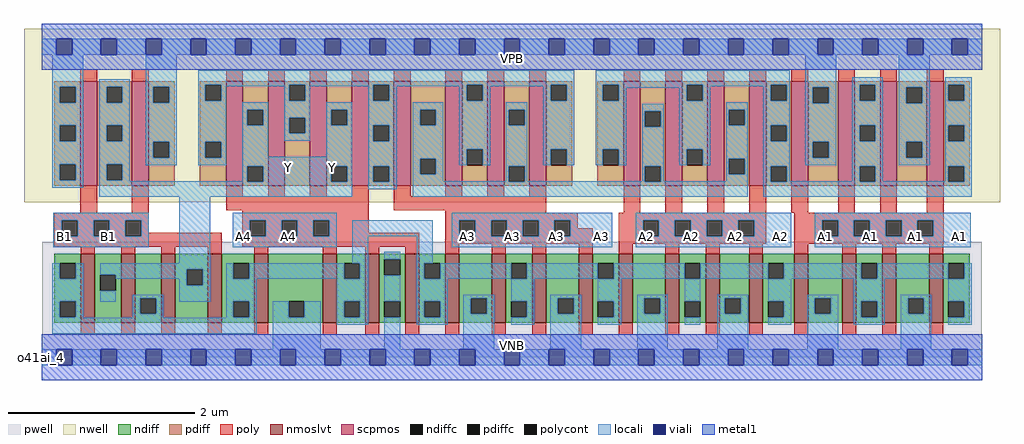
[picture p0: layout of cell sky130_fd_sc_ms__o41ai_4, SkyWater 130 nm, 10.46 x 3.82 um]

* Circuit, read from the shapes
.subckt sky130_fd_sc_ms__o41ai_4 A1 A2 A3 A4 B1 VGND VNB VPB VPWR Y
XM1 Y B1 n1 VNB sky130_fd_pr__nfet_01v8_lvt w=0.74 l=0.15 m=4
XM2 VGND A4 n1 VNB sky130_fd_pr__nfet_01v8_lvt w=0.74 l=0.15 m=4
XM3 VGND A3 n1 VNB sky130_fd_pr__nfet_01v8_lvt w=0.74 l=0.15 m=4
XM4 VGND A2 n1 VNB sky130_fd_pr__nfet_01v8_lvt w=0.74 l=0.15 m=4
XM5 VGND A1 n1 VNB sky130_fd_pr__nfet_01v8_lvt w=0.74 l=0.15 m=4
XM6 Y B1 VPWR VPB sky130_fd_pr__pfet_01v8 w=1.12 l=0.18 m=2
XM7 Y A4 n2 VPB sky130_fd_pr__pfet_01v8 w=1.12 l=0.18 m=4
XM8 n3 A3 n2 VPB sky130_fd_pr__pfet_01v8 w=1.12 l=0.18 m=4
XM9 n3 A2 n4 VPB sky130_fd_pr__pfet_01v8 w=1.12 l=0.18 m=4
XM10 VPWR A1 n4 VPB sky130_fd_pr__pfet_01v8 w=1.12 l=0.18 m=4
.ends

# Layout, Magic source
magic
tech sky130A
magscale 1 2
<< nwell >>
rect -38 332 2054 704
<< pwell >>
rect 1 49 2015 248
rect 0 0 2016 49
<< scpmos >>
rect 83 368 119 592
rect 193 368 229 592
rect 395 368 431 592
rect 485 368 521 592
rect 575 368 611 592
rect 665 368 701 592
rect 755 368 791 592
rect 865 368 901 592
rect 955 368 991 592
rect 1045 368 1081 592
rect 1247 368 1283 592
rect 1337 368 1373 592
rect 1427 368 1463 592
rect 1517 368 1553 592
rect 1607 368 1643 592
rect 1707 368 1743 592
rect 1797 368 1833 592
rect 1897 368 1933 592
<< nmoslvt >>
rect 84 74 114 222
rect 170 74 200 222
rect 256 74 286 222
rect 356 74 386 222
rect 456 74 486 222
rect 602 74 632 222
rect 693 74 723 222
rect 779 74 809 222
rect 865 74 895 222
rect 965 74 995 222
rect 1051 74 1081 222
rect 1151 74 1181 222
rect 1237 74 1267 222
rect 1337 74 1367 222
rect 1423 74 1453 222
rect 1516 74 1546 222
rect 1613 74 1643 222
rect 1716 74 1746 222
rect 1802 74 1832 222
rect 1902 74 1932 222
<< ndiff >>
rect 27 202 84 222
rect 27 168 39 202
rect 73 168 84 202
rect 27 120 84 168
rect 27 86 39 120
rect 73 86 84 120
rect 27 74 84 86
rect 114 177 170 222
rect 114 143 125 177
rect 159 143 170 177
rect 114 74 170 143
rect 200 127 256 222
rect 200 93 211 127
rect 245 93 256 127
rect 200 74 256 93
rect 286 189 356 222
rect 286 155 311 189
rect 345 155 356 189
rect 286 74 356 155
rect 386 202 456 222
rect 386 168 411 202
rect 445 168 456 202
rect 386 120 456 168
rect 386 86 411 120
rect 445 86 456 120
rect 386 74 456 86
rect 486 120 602 222
rect 486 86 529 120
rect 563 86 602 120
rect 486 74 602 86
rect 632 202 693 222
rect 632 168 648 202
rect 682 168 693 202
rect 632 120 693 168
rect 632 86 648 120
rect 682 86 693 120
rect 632 74 693 86
rect 723 210 779 222
rect 723 176 734 210
rect 768 176 779 210
rect 723 120 779 176
rect 723 86 734 120
rect 768 86 779 120
rect 723 74 779 86
rect 809 202 865 222
rect 809 168 820 202
rect 854 168 865 202
rect 809 120 865 168
rect 809 86 820 120
rect 854 86 865 120
rect 809 74 865 86
rect 895 127 965 222
rect 895 93 920 127
rect 954 93 965 127
rect 895 74 965 93
rect 995 202 1051 222
rect 995 168 1006 202
rect 1040 168 1051 202
rect 995 120 1051 168
rect 995 86 1006 120
rect 1040 86 1051 120
rect 995 74 1051 86
rect 1081 127 1151 222
rect 1081 93 1106 127
rect 1140 93 1151 127
rect 1081 74 1151 93
rect 1181 202 1237 222
rect 1181 168 1192 202
rect 1226 168 1237 202
rect 1181 120 1237 168
rect 1181 86 1192 120
rect 1226 86 1237 120
rect 1181 74 1237 86
rect 1267 127 1337 222
rect 1267 93 1292 127
rect 1326 93 1337 127
rect 1267 74 1337 93
rect 1367 202 1423 222
rect 1367 168 1378 202
rect 1412 168 1423 202
rect 1367 120 1423 168
rect 1367 86 1378 120
rect 1412 86 1423 120
rect 1367 74 1423 86
rect 1453 127 1516 222
rect 1453 93 1464 127
rect 1498 93 1516 127
rect 1453 74 1516 93
rect 1546 202 1613 222
rect 1546 168 1557 202
rect 1591 168 1613 202
rect 1546 120 1613 168
rect 1546 86 1557 120
rect 1591 86 1613 120
rect 1546 74 1613 86
rect 1643 127 1716 222
rect 1643 93 1657 127
rect 1691 93 1716 127
rect 1643 74 1716 93
rect 1746 202 1802 222
rect 1746 168 1757 202
rect 1791 168 1802 202
rect 1746 120 1802 168
rect 1746 86 1757 120
rect 1791 86 1802 120
rect 1746 74 1802 86
rect 1832 127 1902 222
rect 1832 93 1857 127
rect 1891 93 1902 127
rect 1832 74 1902 93
rect 1932 202 1989 222
rect 1932 168 1943 202
rect 1977 168 1989 202
rect 1932 120 1989 168
rect 1932 86 1943 120
rect 1977 86 1989 120
rect 1932 74 1989 86
<< pdiff >>
rect 27 580 83 592
rect 27 546 39 580
rect 73 546 83 580
rect 27 497 83 546
rect 27 463 39 497
rect 73 463 83 497
rect 27 414 83 463
rect 27 380 39 414
rect 73 380 83 414
rect 27 368 83 380
rect 119 580 193 592
rect 119 546 139 580
rect 173 546 193 580
rect 119 497 193 546
rect 119 463 139 497
rect 173 463 193 497
rect 119 414 193 463
rect 119 380 139 414
rect 173 380 193 414
rect 119 368 193 380
rect 229 580 285 592
rect 229 546 239 580
rect 273 546 285 580
rect 229 462 285 546
rect 229 428 239 462
rect 273 428 285 462
rect 229 368 285 428
rect 339 584 395 592
rect 339 550 351 584
rect 385 550 395 584
rect 339 462 395 550
rect 339 428 351 462
rect 385 428 395 462
rect 339 368 395 428
rect 431 531 485 592
rect 431 497 441 531
rect 475 497 485 531
rect 431 410 485 497
rect 431 376 441 410
rect 475 376 485 410
rect 431 368 485 376
rect 521 584 575 592
rect 521 550 531 584
rect 565 550 575 584
rect 521 514 575 550
rect 521 480 531 514
rect 565 480 575 514
rect 521 368 575 480
rect 611 531 665 592
rect 611 497 621 531
rect 655 497 665 531
rect 611 410 665 497
rect 611 376 621 410
rect 655 376 665 410
rect 611 368 665 376
rect 701 584 755 592
rect 701 550 711 584
rect 745 550 755 584
rect 701 497 755 550
rect 701 463 711 497
rect 745 463 755 497
rect 701 410 755 463
rect 701 376 711 410
rect 745 376 755 410
rect 701 368 755 376
rect 791 531 865 592
rect 791 497 811 531
rect 845 497 865 531
rect 791 426 865 497
rect 791 392 811 426
rect 845 392 865 426
rect 791 368 865 392
rect 901 584 955 592
rect 901 550 911 584
rect 945 550 955 584
rect 901 446 955 550
rect 901 412 911 446
rect 945 412 955 446
rect 901 368 955 412
rect 991 531 1045 592
rect 991 497 1001 531
rect 1035 497 1045 531
rect 991 410 1045 497
rect 991 376 1001 410
rect 1035 376 1045 410
rect 991 368 1045 376
rect 1081 584 1137 592
rect 1081 550 1091 584
rect 1125 550 1137 584
rect 1081 446 1137 550
rect 1081 412 1091 446
rect 1125 412 1137 446
rect 1081 368 1137 412
rect 1191 584 1247 592
rect 1191 550 1203 584
rect 1237 550 1247 584
rect 1191 446 1247 550
rect 1191 412 1203 446
rect 1237 412 1247 446
rect 1191 368 1247 412
rect 1283 528 1337 592
rect 1283 494 1293 528
rect 1327 494 1337 528
rect 1283 410 1337 494
rect 1283 376 1293 410
rect 1327 376 1337 410
rect 1283 368 1337 376
rect 1373 584 1427 592
rect 1373 550 1383 584
rect 1417 550 1427 584
rect 1373 446 1427 550
rect 1373 412 1383 446
rect 1417 412 1427 446
rect 1373 368 1427 412
rect 1463 531 1517 592
rect 1463 497 1473 531
rect 1507 497 1517 531
rect 1463 426 1517 497
rect 1463 392 1473 426
rect 1507 392 1517 426
rect 1463 368 1517 392
rect 1553 584 1607 592
rect 1553 550 1563 584
rect 1597 550 1607 584
rect 1553 497 1607 550
rect 1553 463 1563 497
rect 1597 463 1607 497
rect 1553 410 1607 463
rect 1553 376 1563 410
rect 1597 376 1607 410
rect 1553 368 1607 376
rect 1643 579 1707 592
rect 1643 545 1653 579
rect 1687 545 1707 579
rect 1643 462 1707 545
rect 1643 428 1653 462
rect 1687 428 1707 462
rect 1643 368 1707 428
rect 1743 584 1797 592
rect 1743 550 1753 584
rect 1787 550 1797 584
rect 1743 497 1797 550
rect 1743 463 1753 497
rect 1787 463 1797 497
rect 1743 410 1797 463
rect 1743 376 1753 410
rect 1787 376 1797 410
rect 1743 368 1797 376
rect 1833 579 1897 592
rect 1833 545 1853 579
rect 1887 545 1897 579
rect 1833 462 1897 545
rect 1833 428 1853 462
rect 1887 428 1897 462
rect 1833 368 1897 428
rect 1933 584 1989 592
rect 1933 550 1943 584
rect 1977 550 1989 584
rect 1933 497 1989 550
rect 1933 463 1943 497
rect 1977 463 1989 497
rect 1933 410 1989 463
rect 1933 376 1943 410
rect 1977 376 1989 410
rect 1933 368 1989 376
<< ndiffc >>
rect 39 168 73 202
rect 39 86 73 120
rect 125 143 159 177
rect 211 93 245 127
rect 311 155 345 189
rect 411 168 445 202
rect 411 86 445 120
rect 529 86 563 120
rect 648 168 682 202
rect 648 86 682 120
rect 734 176 768 210
rect 734 86 768 120
rect 820 168 854 202
rect 820 86 854 120
rect 920 93 954 127
rect 1006 168 1040 202
rect 1006 86 1040 120
rect 1106 93 1140 127
rect 1192 168 1226 202
rect 1192 86 1226 120
rect 1292 93 1326 127
rect 1378 168 1412 202
rect 1378 86 1412 120
rect 1464 93 1498 127
rect 1557 168 1591 202
rect 1557 86 1591 120
rect 1657 93 1691 127
rect 1757 168 1791 202
rect 1757 86 1791 120
rect 1857 93 1891 127
rect 1943 168 1977 202
rect 1943 86 1977 120
<< pdiffc >>
rect 39 546 73 580
rect 39 463 73 497
rect 39 380 73 414
rect 139 546 173 580
rect 139 463 173 497
rect 139 380 173 414
rect 239 546 273 580
rect 239 428 273 462
rect 351 550 385 584
rect 351 428 385 462
rect 441 497 475 531
rect 441 376 475 410
rect 531 550 565 584
rect 531 480 565 514
rect 621 497 655 531
rect 621 376 655 410
rect 711 550 745 584
rect 711 463 745 497
rect 711 376 745 410
rect 811 497 845 531
rect 811 392 845 426
rect 911 550 945 584
rect 911 412 945 446
rect 1001 497 1035 531
rect 1001 376 1035 410
rect 1091 550 1125 584
rect 1091 412 1125 446
rect 1203 550 1237 584
rect 1203 412 1237 446
rect 1293 494 1327 528
rect 1293 376 1327 410
rect 1383 550 1417 584
rect 1383 412 1417 446
rect 1473 497 1507 531
rect 1473 392 1507 426
rect 1563 550 1597 584
rect 1563 463 1597 497
rect 1563 376 1597 410
rect 1653 545 1687 579
rect 1653 428 1687 462
rect 1753 550 1787 584
rect 1753 463 1787 497
rect 1753 376 1787 410
rect 1853 545 1887 579
rect 1853 428 1887 462
rect 1943 550 1977 584
rect 1943 463 1977 497
rect 1943 376 1977 410
<< poly >>
rect 83 592 119 618
rect 193 592 229 618
rect 395 592 431 618
rect 485 592 521 618
rect 575 592 611 618
rect 665 592 701 618
rect 755 592 791 618
rect 865 592 901 618
rect 955 592 991 618
rect 1045 592 1081 618
rect 1247 592 1283 618
rect 1337 592 1373 618
rect 1427 592 1463 618
rect 1517 592 1553 618
rect 1607 592 1643 618
rect 1707 592 1743 618
rect 1797 592 1833 618
rect 1897 592 1933 618
rect 83 310 119 368
rect 193 310 229 368
rect 395 345 431 368
rect 485 345 521 368
rect 575 345 611 368
rect 665 345 701 368
rect 395 315 701 345
rect 755 345 791 368
rect 865 345 901 368
rect 955 345 991 368
rect 1045 345 1081 368
rect 755 315 1081 345
rect 27 294 229 310
rect 27 260 43 294
rect 77 260 111 294
rect 145 260 179 294
rect 213 267 229 294
rect 430 294 701 315
rect 213 260 386 267
rect 27 237 386 260
rect 430 260 446 294
rect 480 260 514 294
rect 548 260 582 294
rect 616 267 701 294
rect 865 310 1081 315
rect 1247 310 1283 368
rect 1337 310 1373 368
rect 1427 310 1463 368
rect 1517 310 1553 368
rect 1607 310 1643 368
rect 1707 310 1743 368
rect 1797 310 1833 368
rect 1897 310 1933 368
rect 865 294 1149 310
rect 616 260 809 267
rect 430 237 809 260
rect 84 222 114 237
rect 170 222 200 237
rect 256 222 286 237
rect 356 222 386 237
rect 456 222 486 237
rect 602 222 632 237
rect 693 222 723 237
rect 779 222 809 237
rect 865 260 895 294
rect 929 260 963 294
rect 997 260 1031 294
rect 1065 260 1099 294
rect 1133 277 1149 294
rect 1237 294 1553 310
rect 1133 260 1181 277
rect 865 244 1181 260
rect 865 222 895 244
rect 965 222 995 244
rect 1051 222 1081 244
rect 1151 222 1181 244
rect 1237 260 1289 294
rect 1323 260 1357 294
rect 1391 260 1425 294
rect 1459 260 1493 294
rect 1527 260 1553 294
rect 1237 244 1553 260
rect 1613 294 1933 310
rect 1613 260 1673 294
rect 1707 260 1741 294
rect 1775 260 1809 294
rect 1843 260 1877 294
rect 1911 260 1933 294
rect 1613 244 1933 260
rect 1237 222 1267 244
rect 1337 222 1367 244
rect 1423 222 1453 244
rect 1516 222 1546 244
rect 1613 222 1643 244
rect 1716 222 1746 244
rect 1802 222 1832 244
rect 1902 222 1932 244
rect 84 48 114 74
rect 170 48 200 74
rect 256 48 286 74
rect 356 48 386 74
rect 456 48 486 74
rect 602 48 632 74
rect 693 48 723 74
rect 779 48 809 74
rect 865 48 895 74
rect 965 48 995 74
rect 1051 48 1081 74
rect 1151 48 1181 74
rect 1237 48 1267 74
rect 1337 48 1367 74
rect 1423 48 1453 74
rect 1516 48 1546 74
rect 1613 48 1643 74
rect 1716 48 1746 74
rect 1802 48 1832 74
rect 1902 48 1932 74
<< polycont >>
rect 43 260 77 294
rect 111 260 145 294
rect 179 260 213 294
rect 446 260 480 294
rect 514 260 548 294
rect 582 260 616 294
rect 895 260 929 294
rect 963 260 997 294
rect 1031 260 1065 294
rect 1099 260 1133 294
rect 1289 260 1323 294
rect 1357 260 1391 294
rect 1425 260 1459 294
rect 1493 260 1527 294
rect 1673 260 1707 294
rect 1741 260 1775 294
rect 1809 260 1843 294
rect 1877 260 1911 294
<< locali >>
rect 0 649 31 683
rect 65 649 127 683
rect 161 649 223 683
rect 257 649 319 683
rect 353 649 415 683
rect 449 649 511 683
rect 545 649 607 683
rect 641 649 703 683
rect 737 649 799 683
rect 833 649 895 683
rect 929 649 991 683
rect 1025 649 1087 683
rect 1121 649 1183 683
rect 1217 649 1279 683
rect 1313 649 1375 683
rect 1409 649 1471 683
rect 1505 649 1567 683
rect 1601 649 1663 683
rect 1697 649 1759 683
rect 1793 649 1855 683
rect 1889 649 1951 683
rect 1985 649 2016 683
rect 23 580 89 649
rect 23 546 39 580
rect 73 546 89 580
rect 23 497 89 546
rect 23 463 39 497
rect 73 463 89 497
rect 23 414 89 463
rect 23 380 39 414
rect 73 380 89 414
rect 23 364 89 380
rect 123 580 189 596
rect 123 546 139 580
rect 173 546 189 580
rect 123 497 189 546
rect 123 463 139 497
rect 173 463 189 497
rect 123 414 189 463
rect 123 380 139 414
rect 173 380 189 414
rect 223 580 289 649
rect 223 546 239 580
rect 273 546 289 580
rect 223 462 289 546
rect 223 428 239 462
rect 273 428 289 462
rect 223 412 289 428
rect 335 584 1141 615
rect 335 550 351 584
rect 385 581 531 584
rect 385 550 396 581
rect 335 462 396 550
rect 520 550 531 581
rect 565 581 711 584
rect 565 550 576 581
rect 335 428 351 462
rect 385 428 396 462
rect 335 412 396 428
rect 430 531 486 547
rect 430 497 441 531
rect 475 497 486 531
rect 430 430 486 497
rect 520 514 576 550
rect 700 550 711 581
rect 745 581 911 584
rect 745 550 761 581
rect 520 480 531 514
rect 565 480 576 514
rect 520 464 576 480
rect 610 531 666 547
rect 610 497 621 531
rect 655 497 666 531
rect 610 430 666 497
rect 123 378 189 380
rect 430 410 666 430
rect 430 378 441 410
rect 123 376 441 378
rect 475 376 621 410
rect 655 376 666 410
rect 123 344 666 376
rect 700 497 761 550
rect 895 550 911 581
rect 945 581 1091 584
rect 945 550 961 581
rect 700 463 711 497
rect 745 463 761 497
rect 700 410 761 463
rect 700 376 711 410
rect 745 376 761 410
rect 700 360 761 376
rect 795 531 861 547
rect 795 497 811 531
rect 845 497 861 531
rect 795 426 861 497
rect 795 392 811 426
rect 845 392 861 426
rect 895 446 961 550
rect 1075 550 1091 581
rect 1125 550 1141 584
rect 895 412 911 446
rect 945 412 961 446
rect 995 531 1041 547
rect 995 497 1001 531
rect 1035 497 1041 531
rect 795 378 861 392
rect 995 410 1041 497
rect 1075 446 1141 550
rect 1075 412 1091 446
rect 1125 412 1141 446
rect 1187 584 1603 615
rect 1187 550 1203 584
rect 1237 578 1383 584
rect 1237 550 1253 578
rect 1187 446 1253 550
rect 1367 550 1383 578
rect 1417 581 1563 584
rect 1417 550 1433 581
rect 1187 412 1203 446
rect 1237 412 1253 446
rect 1287 528 1333 544
rect 1287 494 1293 528
rect 1327 494 1333 528
rect 995 378 1001 410
rect 795 376 1001 378
rect 1035 378 1041 410
rect 1287 410 1333 494
rect 1367 446 1433 550
rect 1547 550 1563 581
rect 1597 550 1603 584
rect 1367 412 1383 446
rect 1417 412 1433 446
rect 1467 531 1513 547
rect 1467 497 1473 531
rect 1507 497 1513 531
rect 1467 426 1513 497
rect 1287 378 1293 410
rect 1035 376 1293 378
rect 1327 378 1333 410
rect 1467 392 1473 426
rect 1507 392 1513 426
rect 1467 378 1513 392
rect 1327 376 1513 378
rect 795 344 1513 376
rect 1547 497 1603 550
rect 1547 463 1563 497
rect 1597 463 1603 497
rect 1547 410 1603 463
rect 1637 579 1703 649
rect 1637 545 1653 579
rect 1687 545 1703 579
rect 1637 462 1703 545
rect 1637 428 1653 462
rect 1687 428 1703 462
rect 1637 412 1703 428
rect 1737 584 1803 600
rect 1737 550 1753 584
rect 1787 550 1803 584
rect 1737 497 1803 550
rect 1737 463 1753 497
rect 1787 463 1803 497
rect 1547 376 1563 410
rect 1597 378 1603 410
rect 1737 410 1803 463
rect 1837 579 1903 649
rect 1837 545 1853 579
rect 1887 545 1903 579
rect 1837 462 1903 545
rect 1837 428 1853 462
rect 1887 428 1903 462
rect 1837 412 1903 428
rect 1937 584 1993 600
rect 1937 550 1943 584
rect 1977 550 1993 584
rect 1937 497 1993 550
rect 1937 463 1943 497
rect 1977 463 1993 497
rect 1737 378 1753 410
rect 1597 376 1753 378
rect 1787 378 1803 410
rect 1937 410 1993 463
rect 1937 378 1943 410
rect 1787 376 1943 378
rect 1977 376 1993 410
rect 1547 344 1993 376
rect 25 294 229 310
rect 25 260 43 294
rect 77 260 111 294
rect 145 260 179 294
rect 213 260 229 294
rect 25 236 229 260
rect 295 202 361 344
rect 409 294 632 310
rect 879 294 1223 310
rect 409 260 446 294
rect 480 260 514 294
rect 548 260 582 294
rect 616 260 632 294
rect 409 236 632 260
rect 666 260 838 294
rect 666 202 700 260
rect 23 168 39 202
rect 73 168 89 202
rect 23 120 89 168
rect 23 86 39 120
rect 73 86 89 120
rect 125 189 361 202
rect 125 177 311 189
rect 159 168 311 177
rect 125 119 159 143
rect 295 155 311 168
rect 345 155 361 189
rect 195 127 261 134
rect 23 85 89 86
rect 195 93 211 127
rect 245 93 261 127
rect 295 119 361 155
rect 395 168 411 202
rect 445 168 648 202
rect 682 168 700 202
rect 395 120 461 168
rect 632 120 700 168
rect 195 85 261 93
rect 395 86 411 120
rect 445 86 461 120
rect 395 85 461 86
rect 23 51 461 85
rect 495 86 529 120
rect 563 86 598 120
rect 495 17 598 86
rect 632 86 648 120
rect 682 86 700 120
rect 632 70 700 86
rect 734 210 768 226
rect 734 120 768 176
rect 734 17 768 86
rect 804 202 838 260
rect 879 260 895 294
rect 929 260 963 294
rect 997 260 1031 294
rect 1065 260 1099 294
rect 1133 260 1223 294
rect 879 236 1223 260
rect 1273 294 1607 310
rect 1273 260 1289 294
rect 1323 260 1357 294
rect 1391 260 1425 294
rect 1459 260 1493 294
rect 1527 260 1607 294
rect 1273 236 1607 260
rect 1657 294 1991 310
rect 1657 260 1673 294
rect 1707 260 1741 294
rect 1775 260 1809 294
rect 1843 260 1877 294
rect 1911 260 1991 294
rect 1657 236 1991 260
rect 804 168 820 202
rect 854 168 1006 202
rect 1040 168 1192 202
rect 1226 168 1378 202
rect 1412 168 1557 202
rect 1591 168 1757 202
rect 1791 168 1943 202
rect 1977 168 1993 202
rect 804 120 870 168
rect 804 86 820 120
rect 854 86 870 120
rect 804 70 870 86
rect 904 127 970 134
rect 904 93 920 127
rect 954 93 970 127
rect 904 17 970 93
rect 1006 120 1056 168
rect 1040 86 1056 120
rect 1006 70 1056 86
rect 1090 127 1156 134
rect 1090 93 1106 127
rect 1140 93 1156 127
rect 1090 17 1156 93
rect 1192 120 1242 168
rect 1226 86 1242 120
rect 1192 70 1242 86
rect 1276 127 1342 134
rect 1276 93 1292 127
rect 1326 93 1342 127
rect 1276 17 1342 93
rect 1378 120 1412 168
rect 1378 70 1412 86
rect 1448 127 1514 134
rect 1448 93 1464 127
rect 1498 93 1514 127
rect 1448 17 1514 93
rect 1557 120 1607 168
rect 1591 86 1607 120
rect 1557 70 1607 86
rect 1641 127 1707 134
rect 1641 93 1657 127
rect 1691 93 1707 127
rect 1641 17 1707 93
rect 1741 120 1807 168
rect 1741 86 1757 120
rect 1791 86 1807 120
rect 1741 70 1807 86
rect 1841 127 1907 134
rect 1841 93 1857 127
rect 1891 93 1907 127
rect 1841 17 1907 93
rect 1943 120 1993 168
rect 1977 86 1993 120
rect 1943 70 1993 86
rect 0 -17 31 17
rect 65 -17 127 17
rect 161 -17 223 17
rect 257 -17 319 17
rect 353 -17 415 17
rect 449 -17 511 17
rect 545 -17 607 17
rect 641 -17 703 17
rect 737 -17 799 17
rect 833 -17 895 17
rect 929 -17 991 17
rect 1025 -17 1087 17
rect 1121 -17 1183 17
rect 1217 -17 1279 17
rect 1313 -17 1375 17
rect 1409 -17 1471 17
rect 1505 -17 1567 17
rect 1601 -17 1663 17
rect 1697 -17 1759 17
rect 1793 -17 1855 17
rect 1889 -17 1951 17
rect 1985 -17 2016 17
<< viali >>
rect 31 649 65 683
rect 127 649 161 683
rect 223 649 257 683
rect 319 649 353 683
rect 415 649 449 683
rect 511 649 545 683
rect 607 649 641 683
rect 703 649 737 683
rect 799 649 833 683
rect 895 649 929 683
rect 991 649 1025 683
rect 1087 649 1121 683
rect 1183 649 1217 683
rect 1279 649 1313 683
rect 1375 649 1409 683
rect 1471 649 1505 683
rect 1567 649 1601 683
rect 1663 649 1697 683
rect 1759 649 1793 683
rect 1855 649 1889 683
rect 1951 649 1985 683
rect 31 -17 65 17
rect 127 -17 161 17
rect 223 -17 257 17
rect 319 -17 353 17
rect 415 -17 449 17
rect 511 -17 545 17
rect 607 -17 641 17
rect 703 -17 737 17
rect 799 -17 833 17
rect 895 -17 929 17
rect 991 -17 1025 17
rect 1087 -17 1121 17
rect 1183 -17 1217 17
rect 1279 -17 1313 17
rect 1375 -17 1409 17
rect 1471 -17 1505 17
rect 1567 -17 1601 17
rect 1663 -17 1697 17
rect 1759 -17 1793 17
rect 1855 -17 1889 17
rect 1951 -17 1985 17
<< metal1 >>
rect 0 683 2016 715
rect 0 649 31 683
rect 65 649 127 683
rect 161 649 223 683
rect 257 649 319 683
rect 353 649 415 683
rect 449 649 511 683
rect 545 649 607 683
rect 641 649 703 683
rect 737 649 799 683
rect 833 649 895 683
rect 929 649 991 683
rect 1025 649 1087 683
rect 1121 649 1183 683
rect 1217 649 1279 683
rect 1313 649 1375 683
rect 1409 649 1471 683
rect 1505 649 1567 683
rect 1601 649 1663 683
rect 1697 649 1759 683
rect 1793 649 1855 683
rect 1889 649 1951 683
rect 1985 649 2016 683
rect 0 617 2016 649
rect 0 17 2016 49
rect 0 -17 31 17
rect 65 -17 127 17
rect 161 -17 223 17
rect 257 -17 319 17
rect 353 -17 415 17
rect 449 -17 511 17
rect 545 -17 607 17
rect 641 -17 703 17
rect 737 -17 799 17
rect 833 -17 895 17
rect 929 -17 991 17
rect 1025 -17 1087 17
rect 1121 -17 1183 17
rect 1217 -17 1279 17
rect 1313 -17 1375 17
rect 1409 -17 1471 17
rect 1505 -17 1567 17
rect 1601 -17 1663 17
rect 1697 -17 1759 17
rect 1793 -17 1855 17
rect 1889 -17 1951 17
rect 1985 -17 2016 17
rect 0 -49 2016 -17
<< labels >>
flabel pwell s 0 0 2016 49 0 FreeSans 200 0 0 0 VNB
port 7 nsew ground bidirectional
flabel nwell s 0 617 2016 666 0 FreeSans 200 0 0 0 VPB
port 8 nsew power bidirectional
rlabel comment s 0 0 0 0 4 o41ai_4
flabel metal1 s 0 617 2016 666 0 FreeSans 340 0 0 0 VPWR
port 9 nsew power bidirectional
flabel metal1 s 0 0 2016 49 0 FreeSans 340 0 0 0 VGND
port 6 nsew ground bidirectional
flabel locali s 1663 242 1697 276 0 FreeSans 340 0 0 0 A1
port 1 nsew signal input
flabel locali s 1759 242 1793 276 0 FreeSans 340 0 0 0 A1
port 1 nsew signal input
flabel locali s 1855 242 1889 276 0 FreeSans 340 0 0 0 A1
port 1 nsew signal input
flabel locali s 1951 242 1985 276 0 FreeSans 340 0 0 0 A1
port 1 nsew signal input
flabel locali s 1279 242 1313 276 0 FreeSans 340 0 0 0 A2
port 2 nsew signal input
flabel locali s 1375 242 1409 276 0 FreeSans 340 0 0 0 A2
port 2 nsew signal input
flabel locali s 1471 242 1505 276 0 FreeSans 340 0 0 0 A2
port 2 nsew signal input
flabel locali s 1567 242 1601 276 0 FreeSans 340 0 0 0 A2
port 2 nsew signal input
flabel locali s 895 242 929 276 0 FreeSans 340 0 0 0 A3
port 3 nsew signal input
flabel locali s 991 242 1025 276 0 FreeSans 340 0 0 0 A3
port 3 nsew signal input
flabel locali s 1087 242 1121 276 0 FreeSans 340 0 0 0 A3
port 3 nsew signal input
flabel locali s 1183 242 1217 276 0 FreeSans 340 0 0 0 A3
port 3 nsew signal input
flabel locali s 415 242 449 276 0 FreeSans 340 0 0 0 A4
port 4 nsew signal input
flabel locali s 511 242 545 276 0 FreeSans 340 0 0 0 A4
port 4 nsew signal input
flabel locali s 31 242 65 276 0 FreeSans 340 0 0 0 B1
port 5 nsew signal input
flabel locali s 127 242 161 276 0 FreeSans 340 0 0 0 B1
port 5 nsew signal input
flabel locali s 511 390 545 424 0 FreeSans 340 0 0 0 Y
port 10 nsew signal output
flabel locali s 607 390 641 424 0 FreeSans 340 0 0 0 Y
port 10 nsew signal output
<< properties >>
string LEFsite unit
string LEFclass CORE
string FIXED_BBOX 0 0 2016 666
string GDS_FILE $PDKPATH/libs.ref/sky130_fd_sc_ms/gds/sky130_fd_sc_ms.gds
string LEFsymmetry X Y
string GDS_END 3553104
string GDS_START 3536950
<< end >>
